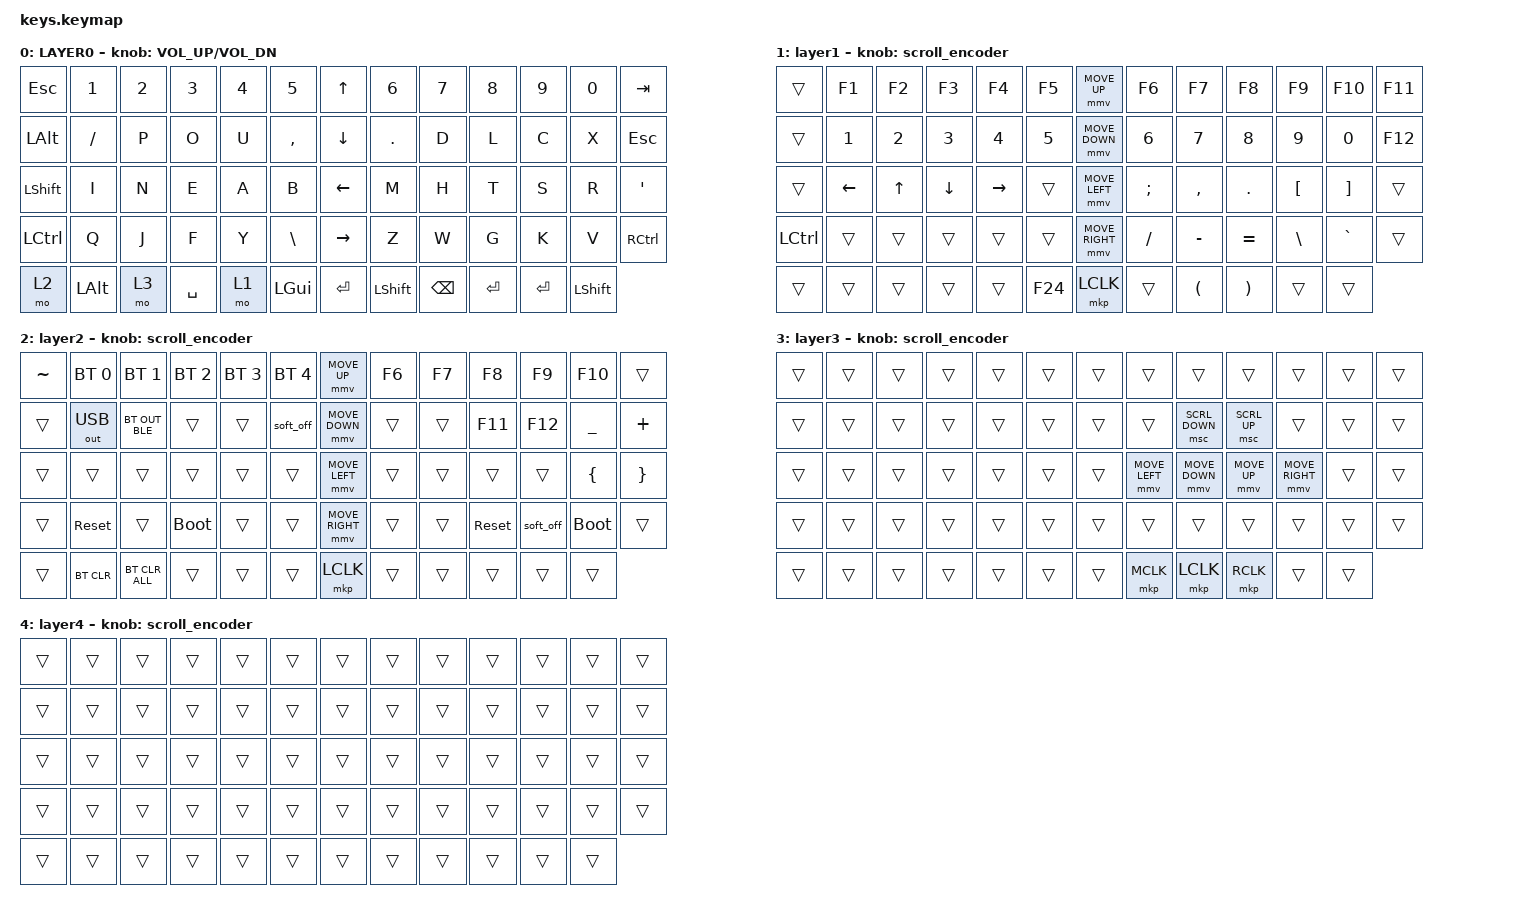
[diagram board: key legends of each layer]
#define ZMK_POINTING_DEFAULT_MOVE_VAL 300  // 600
#define ZMK_POINTING_DEFAULT_SCRL_VAL 10   // 10

#include <input/processors.dtsi>
#include <zephyr/dt-bindings/input/input-event-codes.h>
#include <behaviors.dtsi>
#include <dt-bindings/zmk/bt.h>
#include <dt-bindings/zmk/keys.h>
#include <dt-bindings/zmk/outputs.h>
#include <dt-bindings/zmk/pointing.h>
#include <dt-bindings/zmk/rgb.h>

&mmv_input_listener { input-processors = <&zip_xy_scaler 2 1>; };

&msc_input_listener { input-processors = <&zip_scroll_scaler 2 1>; };

&msc {
    acceleration-exponent = <0>;      // 0
    time-to-max-speed-ms = <100>;       // 300
    delay-ms = <0>;                   // 0
};

&mmv {
    time-to-max-speed-ms = <500>;
    acceleration-exponent = <0>;
    trigger-period-ms = <16>;
};

&soft_off { hold-time-ms = <2000>; };

/ {
    scroll_encoder: scroll_encoder {
        compatible = "zmk,behavior-sensor-rotate";
        #sensor-binding-cells = <0>;
        bindings = <&msc SCRL_DOWN>, <&msc SCRL_UP>;

        tap-ms = <100>;
    };

    behaviors {
    };

    combos {
        compatible = "zmk,combos";

        softoff {
            bindings = <&soft_off>;
            key-positions = <14 28 40>;
        };
    };

    macros {
        SHIFT_MCLK: SHIFT_MCLK {
            compatible = "zmk,behavior-macro";
            #binding-cells = <0>;
            bindings =
                <&macro_press>,
                <&kp LEFT_SHIFT>,
                <&macro_press>,
                <&mkp MB3>,
                <&macro_pause_for_release>,
                <&macro_release>,
                <&kp LEFT_SHIFT &mkp MB3>;

            label = "SHIFT_MCLK";
        };
    };

    keymap {
        compatible = "zmk,keymap";

        layer0 {
            bindings = <
&kp ESC        &kp N1         &kp N2        &kp N3        &kp N4      &kp N5         &kp UP_ARROW     &kp N6     &kp N7         &kp N8     &kp N9           &kp N0      &kp TAB
&kp LEFT_ALT   &kp FSLH       &kp P         &kp O         &kp U       &kp COMMA      &kp DOWN_ARROW   &kp DOT    &kp D          &kp L      &kp C            &kp X       &kp ESC
&kp LSHFT      &kp I          &kp N         &kp E         &kp A       &kp B          &kp LEFT_ARROW   &kp M      &kp H          &kp T      &kp S            &kp R       &kp APOS
&kp LCTRL      &kp Q          &kp J         &kp F         &kp Y       &kp BSLH       &kp RIGHT_ARROW  &kp Z      &kp W          &kp G      &kp K            &kp V       &kp RCTRL
&mo 2          &kp LEFT_ALT   &mo 3         &kp SPACE     &mo 1       &kp LEFT_GUI   &kp ENTER        &kp LSHFT  &kp BACKSPACE  &kp ENTER  &kp ENTER        &kp LSHFT
            >;

            sensor-bindings = <&inc_dec_kp C_VOLUME_UP C_VOL_DN>;
            display-name = "LAYER0";
        };

        layer_1 {
            bindings = <
&trans      &kp F1      &kp F2      &kp F3      &kp F4      &kp F5      &mmv MOVE_UP     &kp F6     &kp F7      &kp F8      &kp F9               &kp F10            &kp F11
&trans      &kp N1      &kp N2      &kp N3      &kp N4      &kp N5      &mmv MOVE_DOWN   &kp N6     &kp N7      &kp N8      &kp N9               &kp N0             &kp F12
&trans      &kp LEFT    &kp UP      &kp DOWN    &kp RIGHT   &trans      &mmv MOVE_LEFT   &kp SEMI   &kp COMMA   &kp DOT     &kp LEFT_BRACKET     &kp RIGHT_BRACKET  &trans
&kp LCTRL   &trans      &trans      &trans      &trans      &trans      &mmv MOVE_RIGHT  &kp FSLH   &kp MINUS   &kp EQUAL   &kp BSLH             &kp GRAVE          &trans
&trans      &trans      &trans      &trans      &trans      &kp F24     &mkp LCLK        &trans     &kp LPAR    &kp RPAR    &trans               &trans
            >;

            display-name = "layer1";
            sensor-bindings = <&scroll_encoder>;
        };

        layer_2 {
            bindings = <
&kp TILDE  &bt BT_SEL 0  &bt BT_SEL 1    &bt BT_SEL 2  &bt BT_SEL 3  &bt BT_SEL 4    &mmv MOVE_UP     &kp F6  &kp F7  &kp F8      &kp F9     &kp F10      &trans
&trans     &out OUT_USB  &bt OUT_BLE     &trans        &trans        &soft_off       &mmv MOVE_DOWN   &trans  &trans  &kp F11     &kp F12    &kp UNDER    &kp PLUS
&trans     &trans        &trans          &trans        &trans        &trans          &mmv MOVE_LEFT   &trans  &trans  &trans      &trans     &kp LBRC     &kp RBRC
&trans     &sys_reset    &trans          &bootloader   &trans        &trans          &mmv MOVE_RIGHT  &trans  &trans  &sys_reset  &soft_off  &bootloader  &trans
&trans     &bt BT_CLR    &bt BT_CLR_ALL  &trans        &trans        &trans          &mkp LCLK        &trans  &trans  &trans      &trans     &trans
            >;

            display-name = "layer2";
            sensor-bindings = <&scroll_encoder>;
        };

        layer_3 {
            bindings = <
&trans  &trans  &trans  &trans  &trans  &trans    &trans  &trans            &trans          &trans          &trans          &trans  &trans
&trans  &trans  &trans  &trans  &trans  &trans    &trans  &trans            &msc SCRL_DOWN  &msc SCRL_UP    &trans          &trans  &trans
&trans  &trans  &trans  &trans  &trans  &trans    &trans  &mmv MOVE_LEFT    &mmv MOVE_DOWN  &mmv MOVE_UP    &mmv MOVE_RIGHT &trans  &trans
&trans  &trans  &trans  &trans  &trans  &trans    &trans  &trans            &trans          &trans          &trans          &trans  &trans
&trans  &trans  &trans  &trans  &trans  &trans    &trans  &mkp MCLK         &mkp LCLK       &mkp RCLK       &trans          &trans
            >;

            display-name = "layer3";
            sensor-bindings = <&scroll_encoder>;
        };

        layer_4 {
            bindings = <
&trans  &trans  &trans  &trans  &trans  &trans    &trans  &trans  &trans  &trans  &trans  &trans  &trans
&trans  &trans  &trans  &trans  &trans  &trans    &trans  &trans  &trans  &trans  &trans  &trans  &trans
&trans  &trans  &trans  &trans  &trans  &trans    &trans  &trans  &trans  &trans  &trans  &trans  &trans
&trans  &trans  &trans  &trans  &trans  &trans    &trans  &trans  &trans  &trans  &trans  &trans  &trans
&trans  &trans  &trans  &trans  &trans  &trans    &trans  &trans  &trans  &trans  &trans  &trans
            >;

            display-name = "layer4";
            sensor-bindings = <&scroll_encoder>;
        };
    };
};
